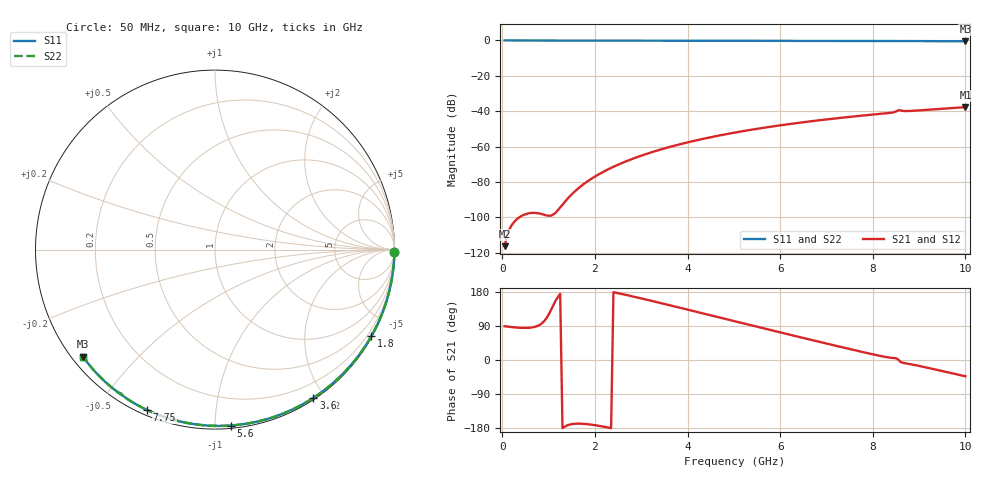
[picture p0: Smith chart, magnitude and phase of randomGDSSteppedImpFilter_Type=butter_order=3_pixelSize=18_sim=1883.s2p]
! freq	dB(S11)	phase(S11)	dB(S12)	phase(S12)
!  dB(S21)	phase(S21)	dB(S22)	phase(S22)
!S-par simulation data
#  GHz  S  DB  R 50
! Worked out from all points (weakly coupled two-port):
!   200 points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, 50 MHz to 10 GHz, reference 50 ohm
!   highest |S21| = -37.69 dB at 10 GHz (marker M1); lowest = -116.2 dB at 50 MHz (marker M2)
!   lowest |S11| = -0.5 dB at 10 GHz (marker M3), VSWR 36.74, Z = 1.53 - j17.7 ohm
!   |S11| at or under -10 dB: nowhere
!   |S22| runs from -0.5 to 0.0 dB; largest |S21 - S12| = 0
!   S11 on the Smith chart (normalised r, x): 50 MHz: open; 1.8 GHz: 0.03, -3.88; 3.6 GHz: 0.02, -1.86; 5.6 GHz: 0.02, -1.09; 7.75 GHz: 0.02, -0.66; 10 GHz: 0.03, -0.35
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0.05  -0.00 -0.8  -116.25 89.2  -116.25 89.2  -0.00 -0.8
0.9  -0.02 -14.6  -98.46 101.9  -98.46 101.9  -0.02 -14.6
1.75  -0.04 -28.1  -81.32 -168.4  -81.32 -168.4  -0.04 -28.1
1.8  -0.04 -28.9  -80.35 -168.9  -80.35 -168.9  -0.04 -28.9
1.85  -0.04 -29.7  -79.44 -169.5  -79.44 -169.5  -0.04 -29.6
2.15  -0.04 -34.4  -74.66 -175.1  -74.66 -175.1  -0.04 -34.3
2.55  -0.05 -40.6  -69.63 175.0  -69.63 175.0  -0.05 -40.5
2.95  -0.06 -46.7  -65.56 164.0  -65.56 164.0  -0.06 -46.6
3.4  -0.07 -53.5  -61.77 150.9  -61.77 150.9  -0.07 -53.4
3.6  -0.08 -56.4  -60.28 145.0  -60.28 145.0  -0.08 -56.4
4.3  -0.09 -66.7  -55.80 124.0  -55.80 124.0  -0.09 -66.5
5.05  -0.12 -77.3  -51.92 101.4  -51.92 101.4  -0.12 -77.1
5.6  -0.14 -84.8  -49.53 84.9  -49.53 84.9  -0.14 -84.7
6.15  -0.16 -92.2  -47.42 68.5  -47.42 68.5  -0.16 -92.1
6.7  -0.19 -99.5  -45.55 52.2  -45.55 52.2  -0.19 -99.3
7.75  -0.26 -113.0  -42.53 21.9  -42.53 21.9  -0.26 -112.8
8.35  -0.31 -120.6  -41.01 6.4  -41.01 6.4  -0.31 -120.3
8.45  -0.33 -121.9  -40.62 5.2  -40.62 5.2  -0.32 -121.6
8.55  -0.38 -123.0  -39.46 1.2  -39.46 1.2  -0.33 -122.8
8.7  -0.35 -124.7  -39.89 -8.5  -39.89 -8.5  -0.34 -124.7
8.8  -0.35 -126.0  -39.85 -10.6  -39.85 -10.6  -0.35 -125.9
10  -0.47 -141.0  -37.69 -43.0  -37.69 -43.0  -0.48 -140.8
